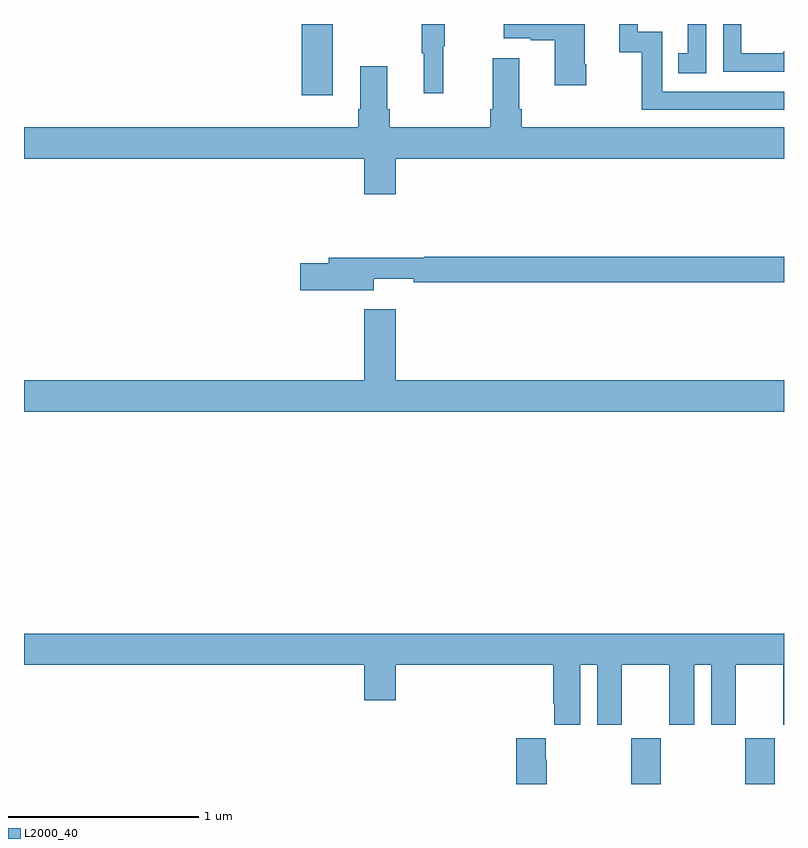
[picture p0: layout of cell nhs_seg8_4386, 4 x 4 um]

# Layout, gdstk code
import gdstk
lib = gdstk.Library(unit=1e-6, precision=1e-09)
def R(c, l, rs):  # rectangles x0, y0, x1, y1
    for r in rs: c.add(gdstk.rectangle(r[:2], r[2:], *l))
def P(c, l, *ps):  # polygons
    for p in ps: c.add(gdstk.Polygon(p, *l))
L2000_40 = (2000, 40)

nhs_seg8_4386 = lib.new_cell('nhs_seg8_4386')
R(nhs_seg8_4386, L2000_40, [(382.195,1087.9,382.35,1088.14), (382.795,1087.9,382.95,1088.14), (380.462,1091.526,380.626,1091.9)])
P(nhs_seg8_4386, L2000_40, [(381.206,1091.784),(381.214,1091.784),(381.214,1091.9),(381.093,1091.9),(381.093,1091.747),(381.104,1091.747),(381.104,1091.535),(381.206,1091.535)],
  [(381.96,1091.689),(381.952,1091.689),(381.952,1091.9),(381.525,1091.9),(381.525,1091.825),(381.668,1091.825),(381.668,1091.815),(381.794,1091.815),(381.794,1091.577),(381.96,1091.577)],
  [(383,1091.756),(382.99,1091.746),(382.776,1091.746),(382.776,1091.9),(382.68,1091.9),(382.68,1091.649),(383,1091.649)],
  [(383,1091.544),(382.359,1091.544),(382.359,1091.859),(382.23,1091.859),(382.23,1091.9),(382.133,1091.9),(382.133,1091.751),(382.251,1091.751),(382.251,1091.448),(383,1091.448)],
  [(382.59,1091.9),(382.493,1091.9),(382.493,1091.745),(382.444,1091.745),(382.444,1091.64),(382.59,1091.64)],
  [(380.956,1091.192),(383,1091.192),(383,1091.356),(381.62,1091.356),(381.62,1091.452),(381.607,1091.452),(381.607,1091.719),(381.467,1091.719),(381.467,1091.452),(381.455,1091.452),(381.455,1091.356),(380.924,1091.356),(380.924,1091.452),(380.911,1091.452),(380.911,1091.677),(380.771,1091.677),(380.771,1091.452),(380.759,1091.452),(380.759,1091.356),(379,1091.356),(379,1091.192),(380.792,1091.192),(380.792,1091.004),(380.956,1091.004)],
  [(380.842,1090.559),(381.052,1090.559),(381.052,1090.54),(383,1090.54),(383,1090.676),(381.107,1090.676),(381.107,1090.669),(380.603,1090.669),(380.603,1090.64),(380.454,1090.64),(380.454,1090.498),(380.842,1090.498)],
  [(383,1090.024),(380.956,1090.024),(380.956,1090.399),(380.792,1090.399),(380.792,1090.024),(379,1090.024),(379,1089.86),(383,1089.86)],
  [(379,1088.528),(380.792,1088.528),(380.792,1088.34),(380.956,1088.34),(380.956,1088.528),(381.785,1088.528),(381.785,1088.323),(381.791,1088.323),(381.791,1088.211),(381.928,1088.211),(381.928,1088.528),(382.016,1088.528),(382.016,1088.211),(382.147,1088.211),(382.147,1088.528),(382.397,1088.528),(382.397,1088.211),(382.528,1088.211),(382.528,1088.528),(382.616,1088.528),(382.616,1088.211),(382.747,1088.211),(382.747,1088.528),(382.997,1088.528),(382.997,1088.211),(383,1088.211),(383,1088.692),(379,1088.692)],
  [(381.75,1088.027),(381.745,1088.027),(381.745,1088.14),(381.59,1088.14),(381.59,1087.9),(381.75,1087.9)])

lib.write_gds('nhs_seg8_4386.gds')
